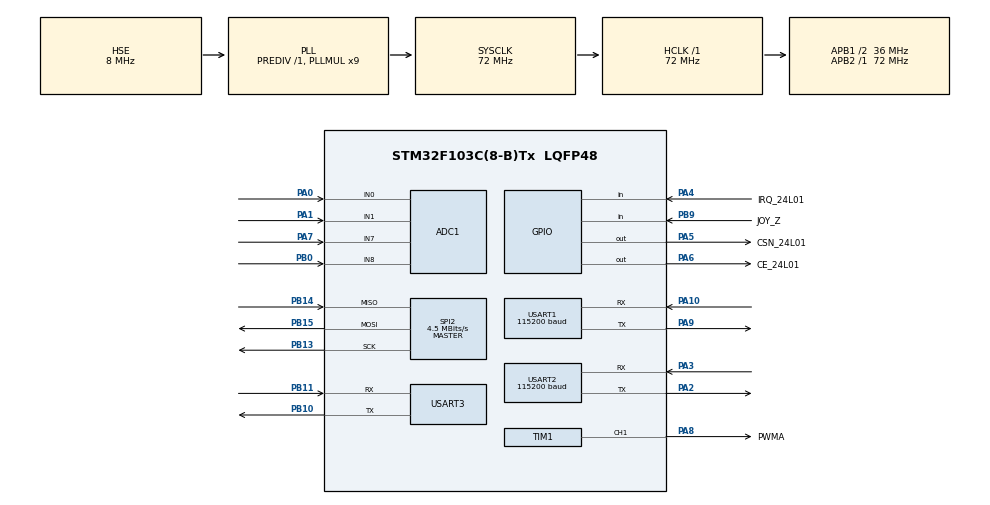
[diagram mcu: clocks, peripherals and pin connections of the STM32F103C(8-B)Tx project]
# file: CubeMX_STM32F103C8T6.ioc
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ADC1.Channel-3\#ChannelRegularConversion=ADC_CHANNEL_0
ADC1.Channel-4\#ChannelRegularConversion=ADC_CHANNEL_1
ADC1.Channel-5\#ChannelRegularConversion=ADC_CHANNEL_7
ADC1.Channel-6\#ChannelRegularConversion=ADC_CHANNEL_8
ADC1.ContinuousConvMode=ENABLE
ADC1.NbrOfConversion=4
ADC1.NbrOfConversionFlag=1
ADC1.Rank-3\#ChannelRegularConversion=1
ADC1.Rank-4\#ChannelRegularConversion=2
ADC1.Rank-5\#ChannelRegularConversion=3
ADC1.Rank-6\#ChannelRegularConversion=4
ADC1.SamplingTime-3\#ChannelRegularConversion=ADC_SAMPLETIME_239CYCLES_5
ADC1.SamplingTime-4\#ChannelRegularConversion=ADC_SAMPLETIME_239CYCLES_5
ADC1.SamplingTime-5\#ChannelRegularConversion=ADC_SAMPLETIME_239CYCLES_5
ADC1.SamplingTime-6\#ChannelRegularConversion=ADC_SAMPLETIME_239CYCLES_5
ADC1.master=1
Dma.ADC1.0.Direction=DMA_PERIPH_TO_MEMORY
Dma.ADC1.0.Instance=DMA1_Channel1
Dma.ADC1.0.MemDataAlignment=DMA_MDATAALIGN_HALFWORD
Dma.ADC1.0.MemInc=DMA_MINC_ENABLE
Dma.ADC1.0.Mode=DMA_CIRCULAR
Dma.ADC1.0.PeriphDataAlignment=DMA_PDATAALIGN_HALFWORD
Dma.ADC1.0.PeriphInc=DMA_PINC_DISABLE
Dma.ADC1.0.Priority=DMA_PRIORITY_HIGH
Dma.Request0=ADC1
Mcu.Family=STM32F1
Mcu.Name=STM32F103C(8-B)Tx
Mcu.Package=LQFP48
NVIC.ADC1_2_IRQn=true\:0\:0\:false\:false\:true\:true\:true\:true
NVIC.DMA1_Channel1_IRQn=true\:0\:0\:false\:false\:true\:false\:true\:true
NVIC.PriorityGroup=NVIC_PRIORITYGROUP_4
NVIC.USART1_IRQn=true\:0\:0\:false\:false\:true\:true\:true\:true
NVIC.USART2_IRQn=true\:0\:0\:false\:false\:true\:true\:true\:true
NVIC.USART3_IRQn=true\:0\:0\:false\:false\:true\:true\:true\:true
PA0-WKUP.Signal=ADCx_IN0
PA1.Signal=ADCx_IN1
PA10.Mode=Asynchronous
PA10.Signal=USART1_RX
PA13.Mode=Serial_Wire
PA13.Signal=SYS_JTMS-SWDIO
PA14.Mode=Serial_Wire
PA14.Signal=SYS_JTCK-SWCLK
PA2.Mode=Asynchronous
PA2.Signal=USART2_TX
PA3.Mode=Asynchronous
PA3.Signal=USART2_RX
PA4.GPIO_Label=IRQ_24L01
PA4.GPIO_PuPd=GPIO_PULLUP
PA4.Signal=GPIO_Input
PA5.GPIO_Label=CSN_24L01
PA5.GPIO_Speed=GPIO_SPEED_FREQ_HIGH
PA5.PinState=GPIO_PIN_SET
PA5.Signal=GPIO_Output
PA6.GPIO_Label=CE_24L01
PA6.GPIO_Speed=GPIO_SPEED_FREQ_HIGH
PA6.PinState=GPIO_PIN_SET
PA6.Signal=GPIO_Output
PA7.Signal=ADCx_IN7
PA8.GPIO_Label=PWMA
PA8.GPIO_Speed=GPIO_SPEED_FREQ_HIGH
PA8.Signal=S_TIM1_CH1
PA9.Mode=Asynchronous
PA9.Signal=USART1_TX
PB0.Signal=ADCx_IN8
PB10.Mode=Asynchronous
PB10.Signal=USART3_TX
PB11.Mode=Asynchronous
PB11.Signal=USART3_RX
PB13.Mode=Full_Duplex_Master
PB13.Signal=SPI2_SCK
PB14.Mode=Full_Duplex_Master
PB14.Signal=SPI2_MISO
PB15.Mode=Full_Duplex_Master
PB15.Signal=SPI2_MOSI
PB9.GPIO_Label=JOY_Z
PB9.GPIO_PuPd=GPIO_PULLUP
PB9.Signal=GPIO_Input
PC14-OSC32_IN.Mode=LSE-External-Oscillator
PC14-OSC32_IN.Signal=RCC_OSC32_IN
PC15-OSC32_OUT.Mode=LSE-External-Oscillator
PC15-OSC32_OUT.Signal=RCC_OSC32_OUT
PD0-OSC_IN.Mode=HSE-External-Oscillator
PD0-OSC_IN.Signal=RCC_OSC_IN
PD1-OSC_OUT.Mode=HSE-External-Oscillator
PD1-OSC_OUT.Signal=RCC_OSC_OUT
ProjectManager.HeapSize=0x200
ProjectManager.StackSize=0x400
ProjectManager.TargetToolchain=STM32CubeIDE
RCC.ADCPresc=RCC_ADCPCLK2_DIV6
RCC.AHBFreq_Value=72000000
RCC.APB1CLKDivider=RCC_HCLK_DIV2
RCC.APB1Freq_Value=36000000
RCC.APB1TimFreq_Value=72000000
RCC.APB2Freq_Value=72000000
RCC.APB2TimFreq_Value=72000000
RCC.HCLKFreq_Value=72000000
RCC.PLLMUL=RCC_PLL_MUL9
RCC.PLLSourceVirtual=RCC_PLLSOURCE_HSE
RCC.SYSCLKFreq_VALUE=72000000
RCC.SYSCLKSource=RCC_SYSCLKSOURCE_PLLCLK
RCC.USBFreq_Value=72000000
SH.ADCx_IN0.0=ADC1_IN0,IN0
SH.ADCx_IN1.0=ADC1_IN1,IN1
SH.ADCx_IN7.0=ADC1_IN7,IN7
SH.ADCx_IN8.0=ADC1_IN8,IN8
SH.S_TIM1_CH1.0=TIM1_CH1,PWM Generation1 CH1
SPI2.BaudRatePrescaler=SPI_BAUDRATEPRESCALER_8
SPI2.CalculateBaudRate=4.5 MBits/s
SPI2.Direction=SPI_DIRECTION_2LINES
SPI2.Mode=SPI_MODE_MASTER
SPI2.VirtualType=VM_MASTER
TIM1.Channel-PWM\ Generation1\ CH1=TIM_CHANNEL_1
TIM1.Period=8400-1
USART1.BaudRate=115200
USART1.VirtualMode=VM_ASYNC
USART2.BaudRate=115200
USART2.VirtualMode=VM_ASYNC
USART3.VirtualMode=VM_ASYNC
board=custom

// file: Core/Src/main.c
/* USER CODE BEGIN Header */
/**
 ******************************************************************************
 * @file           : main.c
 * @brief          : Main program body
 ******************************************************************************
 * @attention
 *
 * Copyright (c) 2023 STMicroelectronics.
 * All rights reserved.
 *
 * This software is licensed under terms that can be found in the LICENSE file
 * in the root directory of this software component.
 * If no LICENSE file comes with this software, it is provided AS-IS.
 *
 ******************************************************************************
 */
/* USER CODE END Header */
#include "main.h"
#include "adc.h"
#include "dma.h"
#include "spi.h"
#include "tim.h"
#include "usart.h"
#include "gpio.h"

/* USER CODE BEGIN Includes */
#include <stdio.h>
#include "../../User/NRF24L01/nrf24l01.h"
#include "../../User/JOY/joy.h"

/* USER CODE END Includes */

/* USER CODE BEGIN PTD */
unsigned char tmp_buf[32] = {0};
unsigned char i;
/* USER CODE END PTD */

void SystemClock_Config(void);

int main(void)
{

  /* MCU Configuration--------------------------------------------------------*/

  /* Reset of all peripherals, Initializes the Flash interface and the Systick. */
  HAL_Init();

  /* Configure the system clock */
  SystemClock_Config();

  /* Initialize all configured peripherals */
  MX_GPIO_Init();
  MX_DMA_Init();
  MX_USART1_UART_Init();
  MX_TIM1_Init();
  MX_USART2_UART_Init();
  MX_USART3_UART_Init();
  MX_SPI2_Init();
  MX_ADC1_Init();
  /* USER CODE BEGIN 2 */
  //* 锟斤拷锟斤拷锟斤拷锟斤拷1锟斤拷锟叫讹拷
  HAL_UART_Receive_IT(&huart1, (uint8_t *)&USART1_NewData, 1);

  //* 锟斤拷锟斤拷锟斤拷锟斤拷2锟斤拷锟叫讹拷
  HAL_UART_Receive_IT(&huart2, (uint8_t *)&USART2_NewData, 1);

  //* 锟斤拷锟斤拷锟斤拷锟斤拷3锟斤拷锟叫讹拷
  HAL_UART_Receive_IT(&huart3, (uint8_t *)&USART3_NewData, 1);

  //* NRF24l01
  NRF24L01_TX_Start();

  HAL_ADC_Start_DMA(&hadc1, (uint32_t *)&AD_Value, 4);
  uint16_t unit;
  /* USER CODE END 2 */

  /* Infinite loop */
  /* USER CODE BEGIN WHILE */
  while (1)
  {

    printf("ADC0:%d\r\n", AD_Value[0]);
    // printf("ADC1:%d\r\n", AD_Value[1]);
    // printf("ADC2:%d\r\n", AD_Value[2]);
    // printf("ADC3:%d\r\n", AD_Value[3]);

    printf("\r\n");

    HAL_Delay(1000);
    // tmp_buf[31]++;
    if (NRF24L01_TxPacket(Adjusted_ADC_Data()) == 0x20) //????????
    {
      // if (NRF24L01_TxPacket(Adjusted_ADC_Value_low()) == 0x20)
      printf("send data OK!\r\n");
      unit = (uint16_t)(Adjusted_ADC_Data()[0] << 8) | Adjusted_ADC_Data()[4];
      printf("Adjusted_ADC_Data():%d\r\n", Adjusted_ADC_Data());

      printf("ADC0unit:%d\r\n", unit);
    }
    else
    {
      printf("send error!\r\n");
    }

    /* USER CODE END WHILE */

  }
}

void SystemClock_Config(void)
{
  RCC_OscInitTypeDef RCC_OscInitStruct = {0};
  RCC_ClkInitTypeDef RCC_ClkInitStruct = {0};
  RCC_PeriphCLKInitTypeDef PeriphClkInit = {0};

  /** Initializes the RCC Oscillators according to the specified parameters
   * in the RCC_OscInitTypeDef structure.
   */
  RCC_OscInitStruct.OscillatorType = RCC_OSCILLATORTYPE_HSE;
  RCC_OscInitStruct.HSEState = RCC_HSE_ON;
  RCC_OscInitStruct.HSEPredivValue = RCC_HSE_PREDIV_DIV1;
  RCC_OscInitStruct.HSIState = RCC_HSI_ON;
  RCC_OscInitStruct.PLL.PLLState = RCC_PLL_ON;
  RCC_OscInitStruct.PLL.PLLSource = RCC_PLLSOURCE_HSE;
  RCC_OscInitStruct.PLL.PLLMUL = RCC_PLL_MUL9;
  if (HAL_RCC_OscConfig(&RCC_OscInitStruct) != HAL_OK)
  {
    Error_Handler();
  }

  /** Initializes the CPU, AHB and APB buses clocks
   */
  RCC_ClkInitStruct.ClockType = RCC_CLOCKTYPE_HCLK | RCC_CLOCKTYPE_SYSCLK | RCC_CLOCKTYPE_PCLK1 | RCC_CLOCKTYPE_PCLK2;
  RCC_ClkInitStruct.SYSCLKSource = RCC_SYSCLKSOURCE_PLLCLK;
  RCC_ClkInitStruct.AHBCLKDivider = RCC_SYSCLK_DIV1;
  RCC_ClkInitStruct.APB1CLKDivider = RCC_HCLK_DIV2;
  RCC_ClkInitStruct.APB2CLKDivider = RCC_HCLK_DIV1;

  if (HAL_RCC_ClockConfig(&RCC_ClkInitStruct, FLASH_LATENCY_2) != HAL_OK)
  {
    Error_Handler();
  }
  PeriphClkInit.PeriphClockSelection = RCC_PERIPHCLK_ADC;
  PeriphClkInit.AdcClockSelection = RCC_ADCPCLK2_DIV6;
  if (HAL_RCCEx_PeriphCLKConfig(&PeriphClkInit) != HAL_OK)
  {
    Error_Handler();
  }
}

void Error_Handler(void)
{
  __disable_irq();
  while (1)
  {
  }
}
